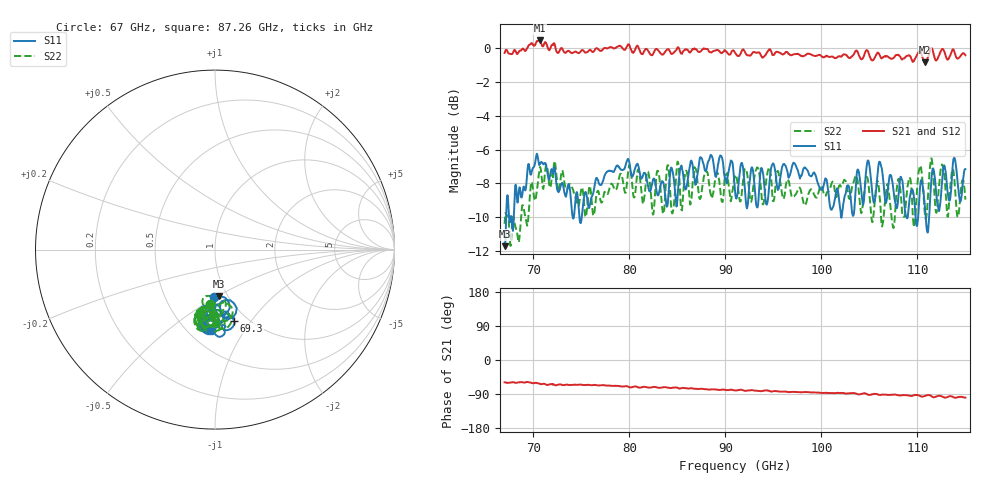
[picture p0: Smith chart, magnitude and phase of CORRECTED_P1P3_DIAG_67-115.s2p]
! Generated by Phase II Calibration
# Hz S RI R 50
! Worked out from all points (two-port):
!   1001 points, 67 GHz to 115 GHz, reference 50 ohm
!   highest |S21| = 0.48 dB at 70.65 GHz (marker M1); lowest = -0.8 dB at 110.8 GHz (marker M2)
!   |S21| within 3 dB of the highest: start of sweep to end of sweep
!   lowest |S11| = -11.7 dB at 67.05 GHz (marker M3), VSWR 1.70, Z = 45.8 - j25.3 ohm
!   |S11| at or under -10 dB: 67.68923 GHz to 67.95555 GHz (266.3 MHz wide, 0.393 % of centre); 109.8154 GHz to 110.0781 GHz (262.7 MHz wide, 0.239 % of centre); 110.8652 GHz to 111.222 GHz (356.8 MHz wide, 0.321 % of centre)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
!   |S22| runs from -11.7 to -6.5 dB; largest |S21 - S12| = 0.024
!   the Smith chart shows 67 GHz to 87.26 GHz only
!   S11 on the Smith chart (normalised r, x): 67 GHz: 0.86, -0.49; 69.3 GHz: 0.87, -0.83; 87.26 GHz: 0.63, -0.72
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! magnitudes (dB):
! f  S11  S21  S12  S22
! 67 GHz  -11.5  -0.3  -0.3  -10.4
! 67.05 GHz  -11.7  -0.2  -0.2  -10.0
! 69.3 GHz  -7.8  0.0  0.0  -10.4
! 70.65 GHz  -6.9  0.5  0.4  -7.1
! 75.02 GHz  -10.1  -0.1  -0.1  -8.3
! 79.82 GHz  -6.6  0.2  0.2  -7.6
! 83.03 GHz  -8.7  -0.1  -0.2  -7.4
! 87.26 GHz  -6.8  -0.2  -0.1  -8.8
! 91 GHz  -8.5  -0.2  -0.4  -7.6
! 99.02 GHz  -7.5  -0.4  -0.4  -8.4
! 102.1 GHz  -10.1  -0.5  -0.6  -8.2
! 104.9 GHz  -6.7  -0.2  -0.1  -7.9
! 107 GHz  -7.9  -0.5  -0.5  -8.6
! 109.1 GHz  -9.1  -0.4  -0.4  -7.7
! 109.7 GHz  -9.0  -0.7  -0.6  -10.6
! 110.3 GHz  -8.1  -0.2  -0.1  -7.0
! 110.8 GHz  -9.3  -0.8  -0.8  -9.8
! 111.4 GHz  -7.9  0.0  0.1  -6.5
! 112 GHz  -8.7  -0.7  -0.7  -9.8
! 112.6 GHz  -7.7  0.0  0.1  -6.9
! 113.1 GHz  -8.4  -0.7  -0.7  -10.0
! 115 GHz  -7.2  -0.4  -0.3  -9.0
